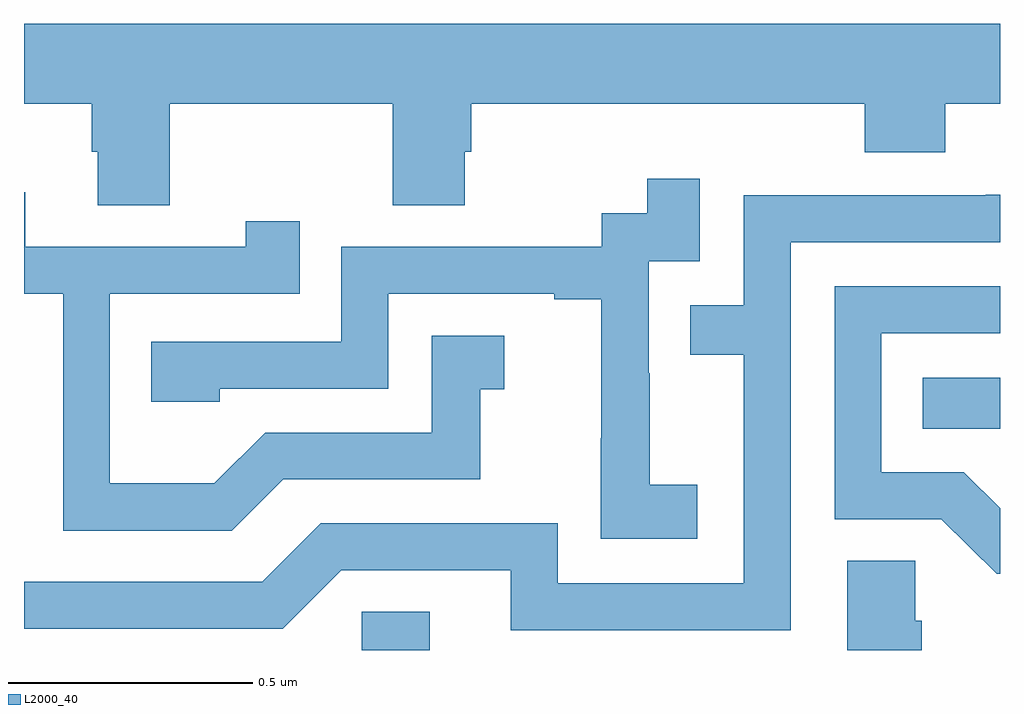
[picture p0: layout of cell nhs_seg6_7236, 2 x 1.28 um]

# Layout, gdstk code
import gdstk
lib = gdstk.Library(unit=1e-6, precision=1e-09)
def R(c, l, rs):  # rectangles x0, y0, x1, y1
    for r in rs: c.add(gdstk.rectangle(r[:2], r[2:], *l))
def P(c, l, *ps):  # polygons
    for p in ps: c.add(gdstk.Polygon(p, *l))
L2000_40 = (2000, 40)

nhs_seg6_7236 = lib.new_cell('nhs_seg6_7236')
R(nhs_seg6_7236, L2000_40, [(205.692,995.5,205.831,995.579), (206.842,995.954,207,996.058)])
P(nhs_seg6_7236, L2000_40, [(205.299,996.62),(205.756,996.62),(205.756,996.412),(205.903,996.412),(205.903,996.522),(205.916,996.522),(205.916,996.62),(206.723,996.62),(206.723,996.521),(206.888,996.521),(206.888,996.62),(207,996.62),(207,996.784),(205,996.784),(205,996.62),(205.139,996.62),(205.139,996.522),(205.151,996.522),(205.151,996.412),(205.299,996.412)],
  [(206.38,995.839),(206.282,995.839),(206.282,996.068),(206.28,996.068),(206.28,996.297),(206.385,996.297),(206.385,996.466),(206.277,996.466),(206.277,996.396),(206.184,996.396),(206.184,996.327),(205.65,996.327),(205.65,996.132),(205.261,996.132),(205.261,996.009),(205.401,996.009),(205.401,996.036),(205.746,996.036),(205.746,996.231),(206.087,996.231),(206.087,996.219),(206.183,996.219),(206.183,995.935),(206.182,995.935),(206.182,995.729),(206.38,995.729)],
  [(205.531,995.85),(205.935,995.85),(205.935,996.035),(205.984,996.035),(205.984,996.145),(205.836,996.145),(205.836,995.946),(205.494,995.946),(205.39,995.842),(205.176,995.842),(205.176,996.231),(205.565,996.231),(205.565,996.379),(205.454,996.379),(205.454,996.327),(205.003,996.327),(205.003,996.439),(205,996.439),(205,996.231),(205.08,996.231),(205.08,995.745),(205.426,995.745)],
  [(206.571,996.336),(207,996.336),(207,996.434),(206.971,996.434),(206.971,996.432),(206.475,996.432),(206.475,996.207),(206.365,996.207),(206.365,996.106),(206.475,996.106),(206.475,995.637),(206.094,995.637),(206.094,995.76),(205.608,995.76),(205.488,995.64),(205,995.64),(205,995.544),(205.53,995.544),(205.65,995.664),(205.997,995.664),(205.997,995.541),(206.571,995.541)],
  [(207,995.791),(206.926,995.865),(206.757,995.865),(206.757,996.15),(207,996.15),(207,996.246),(206.661,996.246),(206.661,995.769),(206.88,995.769),(206.993,995.657),(207,995.657)],
  [(206.84,995.561),(206.826,995.561),(206.826,995.684),(206.687,995.684),(206.687,995.5),(206.84,995.5)])

lib.write_gds('nhs_seg6_7236.gds')
